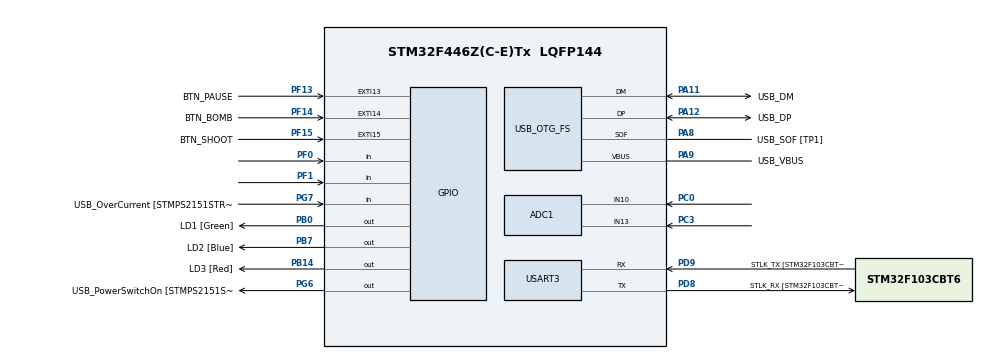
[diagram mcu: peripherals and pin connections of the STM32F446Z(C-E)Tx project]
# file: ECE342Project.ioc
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ADC1.Channel-0\#ChannelRegularConversion=ADC_CHANNEL_10
ADC1.Channel-1\#ChannelRegularConversion=ADC_CHANNEL_13
ADC1.ContinuousConvMode=DISABLE
ADC1.DiscontinuousConvMode=ENABLE
ADC1.NbrOfConversion=2
ADC1.NbrOfConversionFlag=1
ADC1.Rank-0\#ChannelRegularConversion=1
ADC1.Rank-1\#ChannelRegularConversion=2
ADC1.SamplingTime-0\#ChannelRegularConversion=ADC_SAMPLETIME_3CYCLES
ADC1.SamplingTime-1\#ChannelRegularConversion=ADC_SAMPLETIME_3CYCLES
ADC1.ScanConvMode=ENABLE
ADC1.master=1
Mcu.Family=STM32F4
Mcu.Name=STM32F446Z(C-E)Tx
Mcu.Package=LQFP144
NVIC.EXTI15_10_IRQn=true\:0\:0\:false\:false\:true\:true\:true\:true
NVIC.OTG_FS_IRQn=true\:0\:0\:false\:false\:true\:false\:true\:true
NVIC.PriorityGroup=NVIC_PRIORITYGROUP_4
PA10.GPIO_Label=USB_ID
PA10.Signal=USB_OTG_FS_ID
PA11.GPIO_Label=USB_DM
PA11.Mode=Device_Only
PA11.Signal=USB_OTG_FS_DM
PA12.GPIO_Label=USB_DP
PA12.Mode=Device_Only
PA12.Signal=USB_OTG_FS_DP
PA13.GPIO_Label=TMS
PA13.Mode=Serial_Wire
PA13.Signal=SYS_JTMS-SWDIO
PA14.GPIO_Label=TCK
PA14.Mode=Serial_Wire
PA14.Signal=SYS_JTCK-SWCLK
PA8.GPIO_Label=USB_SOF [TP1]
PA8.Mode=Activate_SOF_FS
PA8.Signal=USB_OTG_FS_SOF
PA9.GPIO_Label=USB_VBUS
PA9.Mode=Activate_VBUS
PA9.Signal=USB_OTG_FS_VBUS
PB0.GPIO_Label=LD1 [Green]
PB0.Signal=GPIO_Output
PB14.GPIO_Label=LD3 [Red]
PB14.Signal=GPIO_Output
PB7.GPIO_Label=LD2 [Blue]
PB7.Signal=GPIO_Output
PC0.Signal=ADCx_IN10
PC14-OSC32_IN.Mode=LSE-External-Oscillator
PC14-OSC32_IN.Signal=RCC_OSC32_IN
PC15-OSC32_OUT.Mode=LSE-External-Oscillator
PC15-OSC32_OUT.Signal=RCC_OSC32_OUT
PC3.Signal=ADCx_IN13
PD8.GPIO_Label=STLK_RX [STM32F103CBT6_PA3]
PD8.Mode=Asynchronous
PD8.Signal=USART3_TX
PD9.GPIO_Label=STLK_TX [STM32F103CBT6_PA2]
PD9.Mode=Asynchronous
PD9.Signal=USART3_RX
PF0.Signal=GPIO_Input
PF1.Signal=GPIO_Input
PF13.GPIO_Label=BTN_PAUSE
PF13.GPIO_ModeDefaultEXTI=GPIO_MODE_IT_FALLING
PF13.GPIO_PuPd=GPIO_PULLUP
PF13.Signal=GPXTI13
PF14.GPIO_Label=BTN_BOMB
PF14.GPIO_ModeDefaultEXTI=GPIO_MODE_IT_FALLING
PF14.GPIO_PuPd=GPIO_PULLUP
PF14.Signal=GPXTI14
PF15.GPIO_Label=BTN_SHOOT
PF15.GPIO_ModeDefaultEXTI=GPIO_MODE_IT_RISING_FALLING
PF15.GPIO_PuPd=GPIO_PULLUP
PF15.Signal=GPXTI15
PG6.GPIO_Label=USB_PowerSwitchOn [STMPS2151STR_EN]
PG6.Signal=GPIO_Output
PG7.GPIO_Label=USB_OverCurrent [STMPS2151STR_FAULT]
PG7.Signal=GPIO_Input
PH0-OSC_IN.GPIO_Label=MCO [STM32F103CBT6_PA8]
PH0-OSC_IN.Mode=HSE-External-Clock-Source
PH0-OSC_IN.Signal=RCC_OSC_IN
PH1-OSC_OUT.Mode=HSE-External-Clock-Source
PH1-OSC_OUT.Signal=RCC_OSC_OUT
ProjectManager.HeapSize=0x200
ProjectManager.StackSize=0x400
ProjectManager.TargetToolchain=STM32CubeIDE
RCC.48MHZClocksFreq_Value=24000000
RCC.AHBFreq_Value=168000000
RCC.APB1CLKDivider=RCC_HCLK_DIV4
RCC.APB1Freq_Value=42000000
RCC.APB1TimFreq_Value=84000000
RCC.APB2CLKDivider=RCC_HCLK_DIV2
RCC.APB2Freq_Value=84000000
RCC.APB2TimFreq_Value=168000000
RCC.CortexFreq_Value=168000000
RCC.HCLKFreq_Value=168000000
RCC.HSE_VALUE=8000000
RCC.HSI_VALUE=16000000
RCC.PLLM=4
RCC.PLLMUL=RCC_PLL_MUL9
RCC.PLLN=168
RCC.PLLQ=7
RCC.PRESCALERUSB=RCC_USBCLKSOURCE_PLL_DIV1_5
RCC.SYSCLKFreq_VALUE=168000000
RCC.SYSCLKSource=RCC_SYSCLKSOURCE_PLLCLK
RCC.SYSCLKSourceVirtual=RCC_SYSCLKSOURCE_PLLCLK
RCC.USBFreq_Value=48000000
RCC.VCOOutputFreq_Value=336000000
SH.ADCx_IN10.0=ADC1_IN10,IN10
SH.ADCx_IN13.0=ADC1_IN13,IN13
USART3.VirtualMode=VM_ASYNC
USB_DEVICE.CLASS_NAME_FS=CDC
USB_DEVICE.VirtualMode-CDC_FS=Cdc
USB_DEVICE.VirtualModeFS=Cdc_FS
USB_OTG_FS.VirtualMode=Device_Only
VP_USB_DEVICE_VS_USB_DEVICE_CDC_FS.Mode=CDC_FS
board=NUCLEO-F446ZE

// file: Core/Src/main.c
/* USER CODE BEGIN Header */
/**
 ******************************************************************************
 * @file           : main.c
 * @brief          : Main program body
 ******************************************************************************
 * @attention
 *
 * Copyright (c) 2026 STMicroelectronics.
 * All rights reserved.
 *
 * This software is licensed under terms that can be found in the LICENSE file
 * in the root directory of this software component.
 * If no LICENSE file comes with this software, it is provided AS-IS.
 *
 ******************************************************************************
 */
/* USER CODE END Header */
#include "main.h"
#include "usb_device.h"

/* USER CODE BEGIN Includes */
#include "game.h"
#include "bullet.h"
#include "enemy.h"
#include "player.h"
#include "monitor.h"
#include <stdlib.h>
#include <stdio.h>
#include <string.h>
/* USER CODE END Includes */

ADC_HandleTypeDef hadc1;

UART_HandleTypeDef huart3;

void
SystemClock_Config (void);
static void
MX_GPIO_Init (void);
static void
MX_ADC1_Init (void);
static void
MX_USART3_UART_Init (void);
/* USER CODE BEGIN PFP */
void
print_msg (char *msg)
{
  HAL_UART_Transmit (&huart3, (uint8_t*) msg, strlen (msg), 100);
}
/* USER CODE END PFP */

int
main (void)
{

  /* MCU Configuration--------------------------------------------------------*/

  /* Reset of all peripherals, Initializes the Flash interface and the Systick. */
  HAL_Init ();

  /* Configure the system clock */
  SystemClock_Config ();

  /* Initialize all configured peripherals */
  MX_GPIO_Init ();
  MX_ADC1_Init ();
  MX_USART3_UART_Init ();
  MX_USB_DEVICE_Init ();

  /* Infinite loop */
  /* USER CODE BEGIN WHILE */
  game_random_seed (HAL_GetTick () * 64);
  score = 0;

  frame f;

  controls *PlayerControl = malloc (sizeof(controls));
  init_game_state (&player1, PlayerControl);

  while (1)
    {
      update_controls (PlayerControl);
      update_all (&player1, PlayerControl);
      f.score = score;

      clear_frame (&f, BLACK);
      draw_all (&f, &player1);
      send_frame (&f);

      if ((total_enemies <= 0) && (HAL_GetTick () - wave_complete_time >= 2000))
	{
	  wave_complete_time = HAL_GetTick ();
	  total_enemies = 0;
	  spawn_enemy_wave (wave_num);
	  wave_num += 1;
	}

      /* USER CODE END WHILE */

    }
}

void
SystemClock_Config (void)
{
  RCC_OscInitTypeDef RCC_OscInitStruct =
    { 0 };
  RCC_ClkInitTypeDef RCC_ClkInitStruct =
    { 0 };

  /** Configure the main internal regulator output voltage
   */
  __HAL_RCC_PWR_CLK_ENABLE();
  __HAL_PWR_VOLTAGESCALING_CONFIG(PWR_REGULATOR_VOLTAGE_SCALE1);

  /** Initializes the RCC Oscillators according to the specified parameters
   * in the RCC_OscInitTypeDef structure.
   */
  RCC_OscInitStruct.OscillatorType = RCC_OSCILLATORTYPE_HSE;
  RCC_OscInitStruct.HSEState = RCC_HSE_BYPASS;
  RCC_OscInitStruct.PLL.PLLState = RCC_PLL_ON;
  RCC_OscInitStruct.PLL.PLLSource = RCC_PLLSOURCE_HSE;
  RCC_OscInitStruct.PLL.PLLM = 4;
  RCC_OscInitStruct.PLL.PLLN = 168;
  RCC_OscInitStruct.PLL.PLLP = RCC_PLLP_DIV2;
  RCC_OscInitStruct.PLL.PLLQ = 7;
  RCC_OscInitStruct.PLL.PLLR = 2;
  if (HAL_RCC_OscConfig (&RCC_OscInitStruct) != HAL_OK)
    {
      Error_Handler ();
    }

  /** Initializes the CPU, AHB and APB buses clocks
   */
  RCC_ClkInitStruct.ClockType = RCC_CLOCKTYPE_HCLK | RCC_CLOCKTYPE_SYSCLK
      | RCC_CLOCKTYPE_PCLK1 | RCC_CLOCKTYPE_PCLK2;
  RCC_ClkInitStruct.SYSCLKSource = RCC_SYSCLKSOURCE_PLLCLK;
  RCC_ClkInitStruct.AHBCLKDivider = RCC_SYSCLK_DIV1;
  RCC_ClkInitStruct.APB1CLKDivider = RCC_HCLK_DIV4;
  RCC_ClkInitStruct.APB2CLKDivider = RCC_HCLK_DIV2;

  if (HAL_RCC_ClockConfig (&RCC_ClkInitStruct, FLASH_LATENCY_5) != HAL_OK)
    {
      Error_Handler ();
    }
}

static void
MX_ADC1_Init (void)
{

  ADC_ChannelConfTypeDef sConfig =
    { 0 };

  /** Configure the global features of the ADC (Clock, Resolution, Data Alignment and number of conversion)
   */
  hadc1.Instance = ADC1;
  hadc1.Init.ClockPrescaler = ADC_CLOCK_SYNC_PCLK_DIV4;
  hadc1.Init.Resolution = ADC_RESOLUTION_12B;
  hadc1.Init.ScanConvMode = ENABLE;
  hadc1.Init.ContinuousConvMode = DISABLE;
  hadc1.Init.DiscontinuousConvMode = ENABLE;
  hadc1.Init.NbrOfDiscConversion = 1;
  hadc1.Init.ExternalTrigConvEdge = ADC_EXTERNALTRIGCONVEDGE_NONE;
  hadc1.Init.ExternalTrigConv = ADC_SOFTWARE_START;
  hadc1.Init.DataAlign = ADC_DATAALIGN_RIGHT;
  hadc1.Init.NbrOfConversion = 2;
  hadc1.Init.DMAContinuousRequests = DISABLE;
  hadc1.Init.EOCSelection = ADC_EOC_SINGLE_CONV;
  if (HAL_ADC_Init (&hadc1) != HAL_OK)
    {
      Error_Handler ();
    }

  /** Configure for the selected ADC regular channel its corresponding rank in the sequencer and its sample time.
   */
  sConfig.Channel = ADC_CHANNEL_10;
  sConfig.Rank = 1;
  sConfig.SamplingTime = ADC_SAMPLETIME_84CYCLES;
  if (HAL_ADC_ConfigChannel (&hadc1, &sConfig) != HAL_OK)
    {
      Error_Handler ();
    }

  /** Configure for the selected ADC regular channel its corresponding rank in the sequencer and its sample time.
   */
  sConfig.Channel = ADC_CHANNEL_13;
  sConfig.Rank = 2;
  sConfig.SamplingTime = ADC_SAMPLETIME_3CYCLES;
  if (HAL_ADC_ConfigChannel (&hadc1, &sConfig) != HAL_OK)
    {
      Error_Handler ();
    }

}

static void
MX_USART3_UART_Init (void)
{

  huart3.Instance = USART3;
  huart3.Init.BaudRate = 115200;
  huart3.Init.WordLength = UART_WORDLENGTH_8B;
  huart3.Init.StopBits = UART_STOPBITS_1;
  huart3.Init.Parity = UART_PARITY_NONE;
  huart3.Init.Mode = UART_MODE_TX_RX;
  huart3.Init.HwFlowCtl = UART_HWCONTROL_NONE;
  huart3.Init.OverSampling = UART_OVERSAMPLING_16;
  if (HAL_UART_Init (&huart3) != HAL_OK)
    {
      Error_Handler ();
    }

}

static void
MX_GPIO_Init (void)
{
  GPIO_InitTypeDef GPIO_InitStruct =
    { 0 };

  /* GPIO Ports Clock Enable */
  __HAL_RCC_GPIOC_CLK_ENABLE();
  __HAL_RCC_GPIOF_CLK_ENABLE();
  __HAL_RCC_GPIOH_CLK_ENABLE();
  __HAL_RCC_GPIOB_CLK_ENABLE();
  __HAL_RCC_GPIOD_CLK_ENABLE();
  __HAL_RCC_GPIOG_CLK_ENABLE();
  __HAL_RCC_GPIOA_CLK_ENABLE();

  /*Configure GPIO pin Output Level */
  HAL_GPIO_WritePin (GPIOB, LD1_Pin | LD3_Pin | LD2_Pin, GPIO_PIN_RESET);

  /*Configure GPIO pin Output Level */
  HAL_GPIO_WritePin (USB_PowerSwitchOn_GPIO_Port, USB_PowerSwitchOn_Pin,
		     GPIO_PIN_RESET);

  /*Configure GPIO pins : PF0 PF1 */
  GPIO_InitStruct.Pin = GPIO_PIN_0 | GPIO_PIN_1;
  GPIO_InitStruct.Mode = GPIO_MODE_INPUT;
  GPIO_InitStruct.Pull = GPIO_NOPULL;
  HAL_GPIO_Init (GPIOF, &GPIO_InitStruct);

  /*Configure GPIO pins : LD1_Pin LD3_Pin LD2_Pin */
  GPIO_InitStruct.Pin = LD1_Pin | LD3_Pin | LD2_Pin;
  GPIO_InitStruct.Mode = GPIO_MODE_OUTPUT_PP;
  GPIO_InitStruct.Pull = GPIO_NOPULL;
  GPIO_InitStruct.Speed = GPIO_SPEED_FREQ_LOW;
  HAL_GPIO_Init (GPIOB, &GPIO_InitStruct);

  /*Configure GPIO pins : BTN_PAUSE_Pin BTN_BOMB_Pin BTN_SHOOT_Pin */
  GPIO_InitStruct.Pin = BTN_PAUSE_Pin | BTN_BOMB_Pin | BTN_SHOOT_Pin;
  GPIO_InitStruct.Mode = GPIO_MODE_IT_FALLING;
  GPIO_InitStruct.Pull = GPIO_PULLUP;
  HAL_GPIO_Init (GPIOF, &GPIO_InitStruct);

  /*Configure GPIO pin : USB_PowerSwitchOn_Pin */
  GPIO_InitStruct.Pin = USB_PowerSwitchOn_Pin;
  GPIO_InitStruct.Mode = GPIO_MODE_OUTPUT_PP;
  GPIO_InitStruct.Pull = GPIO_NOPULL;
  GPIO_InitStruct.Speed = GPIO_SPEED_FREQ_LOW;
  HAL_GPIO_Init (USB_PowerSwitchOn_GPIO_Port, &GPIO_InitStruct);

  /*Configure GPIO pin : USB_OverCurrent_Pin */
  GPIO_InitStruct.Pin = USB_OverCurrent_Pin;
  GPIO_InitStruct.Mode = GPIO_MODE_INPUT;
  GPIO_InitStruct.Pull = GPIO_NOPULL;
  HAL_GPIO_Init (USB_OverCurrent_GPIO_Port, &GPIO_InitStruct);

  /* EXTI interrupt init*/
  HAL_NVIC_SetPriority (EXTI15_10_IRQn, 0, 0);
  HAL_NVIC_EnableIRQ (EXTI15_10_IRQn);

}

void
Error_Handler (void)
{
  /* USER CODE BEGIN Error_Handler_Debug */
  /* User can add his own implementation to report the HAL error return state */
  __disable_irq ();
  while (1)
    {
    }
  /* USER CODE END Error_Handler_Debug */
}
